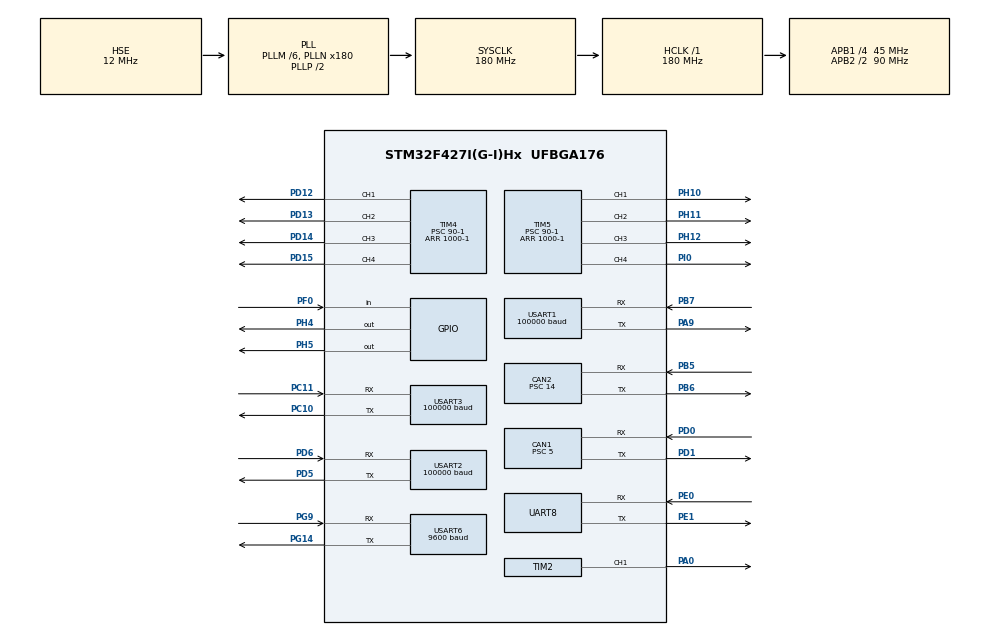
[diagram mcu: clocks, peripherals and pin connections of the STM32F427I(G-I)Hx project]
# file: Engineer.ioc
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CAN1.ABOM=ENABLE
CAN1.BS1=CAN_BS1_4TQ
CAN1.BS2=CAN_BS2_4TQ
CAN1.CalculateBaudRate=1000000
CAN1.CalculateTimeBit=1000
CAN1.CalculateTimeQuantum=111.11111111111111
CAN1.Prescaler=5
CAN2.ABOM=ENABLE
CAN2.BS1=CAN_BS1_4TQ
CAN2.BS2=CAN_BS2_4TQ
CAN2.CalculateBaudRate=357142
CAN2.CalculateTimeBit=2800
CAN2.CalculateTimeQuantum=311.1111111111111
CAN2.Prescaler=14
Dma.Request0=USART3_RX
Dma.Request1=USART6_RX
Dma.Request2=USART6_TX
Dma.Request3=USART1_RX
Dma.Request4=USART1_TX
Dma.Request5=UART8_RX
Dma.Request6=UART8_TX
Dma.UART8_RX.5.Direction=DMA_PERIPH_TO_MEMORY
Dma.UART8_RX.5.FIFOMode=DMA_FIFOMODE_DISABLE
Dma.UART8_RX.5.Instance=DMA1_Stream6
Dma.UART8_RX.5.MemDataAlignment=DMA_MDATAALIGN_BYTE
Dma.UART8_RX.5.MemInc=DMA_MINC_ENABLE
Dma.UART8_RX.5.Mode=DMA_NORMAL
Dma.UART8_RX.5.PeriphDataAlignment=DMA_PDATAALIGN_BYTE
Dma.UART8_RX.5.PeriphInc=DMA_PINC_DISABLE
Dma.UART8_RX.5.Priority=DMA_PRIORITY_LOW
Dma.UART8_TX.6.Direction=DMA_MEMORY_TO_PERIPH
Dma.UART8_TX.6.FIFOMode=DMA_FIFOMODE_DISABLE
Dma.UART8_TX.6.Instance=DMA1_Stream0
Dma.UART8_TX.6.MemDataAlignment=DMA_MDATAALIGN_BYTE
Dma.UART8_TX.6.MemInc=DMA_MINC_ENABLE
Dma.UART8_TX.6.Mode=DMA_NORMAL
Dma.UART8_TX.6.PeriphDataAlignment=DMA_PDATAALIGN_BYTE
Dma.UART8_TX.6.PeriphInc=DMA_PINC_DISABLE
Dma.UART8_TX.6.Priority=DMA_PRIORITY_LOW
Dma.USART1_RX.3.Direction=DMA_PERIPH_TO_MEMORY
Dma.USART1_RX.3.FIFOMode=DMA_FIFOMODE_DISABLE
Dma.USART1_RX.3.Instance=DMA2_Stream5
Dma.USART1_RX.3.MemDataAlignment=DMA_MDATAALIGN_BYTE
Dma.USART1_RX.3.MemInc=DMA_MINC_ENABLE
Dma.USART1_RX.3.Mode=DMA_NORMAL
Dma.USART1_RX.3.PeriphDataAlignment=DMA_PDATAALIGN_BYTE
Dma.USART1_RX.3.PeriphInc=DMA_PINC_DISABLE
Dma.USART1_RX.3.Priority=DMA_PRIORITY_LOW
Dma.USART1_TX.4.Direction=DMA_MEMORY_TO_PERIPH
Dma.USART1_TX.4.FIFOMode=DMA_FIFOMODE_DISABLE
Dma.USART1_TX.4.Instance=DMA2_Stream7
Dma.USART1_TX.4.MemDataAlignment=DMA_MDATAALIGN_BYTE
Dma.USART1_TX.4.MemInc=DMA_MINC_ENABLE
Dma.USART1_TX.4.Mode=DMA_NORMAL
Dma.USART1_TX.4.PeriphDataAlignment=DMA_PDATAALIGN_BYTE
Dma.USART1_TX.4.PeriphInc=DMA_PINC_DISABLE
Dma.USART1_TX.4.Priority=DMA_PRIORITY_LOW
Dma.USART3_RX.0.Direction=DMA_PERIPH_TO_MEMORY
Dma.USART3_RX.0.FIFOMode=DMA_FIFOMODE_DISABLE
Dma.USART3_RX.0.Instance=DMA1_Stream1
Dma.USART3_RX.0.MemDataAlignment=DMA_MDATAALIGN_BYTE
Dma.USART3_RX.0.MemInc=DMA_MINC_ENABLE
Dma.USART3_RX.0.Mode=DMA_NORMAL
Dma.USART3_RX.0.PeriphDataAlignment=DMA_PDATAALIGN_BYTE
Dma.USART3_RX.0.PeriphInc=DMA_PINC_DISABLE
Dma.USART3_RX.0.Priority=DMA_PRIORITY_LOW
Dma.USART6_RX.1.Direction=DMA_PERIPH_TO_MEMORY
Dma.USART6_RX.1.FIFOMode=DMA_FIFOMODE_DISABLE
Dma.USART6_RX.1.Instance=DMA2_Stream1
Dma.USART6_RX.1.MemDataAlignment=DMA_MDATAALIGN_BYTE
Dma.USART6_RX.1.MemInc=DMA_MINC_ENABLE
Dma.USART6_RX.1.Mode=DMA_NORMAL
Dma.USART6_RX.1.PeriphDataAlignment=DMA_PDATAALIGN_BYTE
Dma.USART6_RX.1.PeriphInc=DMA_PINC_DISABLE
Dma.USART6_RX.1.Priority=DMA_PRIORITY_LOW
Dma.USART6_TX.2.Direction=DMA_MEMORY_TO_PERIPH
Dma.USART6_TX.2.FIFOMode=DMA_FIFOMODE_DISABLE
Dma.USART6_TX.2.Instance=DMA2_Stream6
Dma.USART6_TX.2.MemDataAlignment=DMA_MDATAALIGN_BYTE
Dma.USART6_TX.2.MemInc=DMA_MINC_ENABLE
Dma.USART6_TX.2.Mode=DMA_NORMAL
Dma.USART6_TX.2.PeriphDataAlignment=DMA_PDATAALIGN_BYTE
Dma.USART6_TX.2.PeriphInc=DMA_PINC_DISABLE
Dma.USART6_TX.2.Priority=DMA_PRIORITY_LOW
Mcu.Family=STM32F4
Mcu.Name=STM32F427I(G-I)Hx
Mcu.Package=UFBGA176
NVIC.CAN1_RX0_IRQn=true\:0\:0\:false\:false\:true\:true\:true\:true
NVIC.CAN2_RX0_IRQn=true\:0\:0\:false\:false\:true\:true\:true\:true
NVIC.DMA1_Stream0_IRQn=true\:0\:0\:false\:false\:true\:false\:true\:true
NVIC.DMA1_Stream1_IRQn=true\:0\:0\:false\:false\:true\:false\:true\:true
NVIC.DMA1_Stream6_IRQn=true\:0\:0\:false\:false\:true\:false\:true\:true
NVIC.DMA2_Stream1_IRQn=true\:0\:0\:false\:false\:true\:false\:true\:true
NVIC.DMA2_Stream5_IRQn=true\:0\:0\:false\:false\:true\:false\:true\:true
NVIC.DMA2_Stream6_IRQn=true\:0\:0\:false\:false\:true\:false\:true\:true
NVIC.DMA2_Stream7_IRQn=true\:0\:0\:false\:false\:true\:false\:true\:true
NVIC.PriorityGroup=NVIC_PRIORITYGROUP_4
NVIC.TIM4_IRQn=true\:0\:0\:false\:false\:true\:true\:true\:true
NVIC.TIM5_IRQn=true\:0\:0\:false\:false\:true\:true\:true\:true
NVIC.TIM6_DAC_IRQn=true\:0\:0\:false\:false\:true\:true\:true\:true
NVIC.UART8_IRQn=true\:0\:0\:false\:false\:true\:true\:true\:true
NVIC.USART1_IRQn=true\:0\:0\:false\:false\:true\:true\:true\:true
NVIC.USART2_IRQn=true\:0\:0\:false\:false\:true\:true\:true\:true
NVIC.USART3_IRQn=true\:0\:0\:false\:false\:true\:true\:true\:true
NVIC.USART6_IRQn=true\:0\:0\:false\:false\:true\:true\:true\:true
PA0/WKUP.Signal=S_TIM2_CH1_ETR
PA1.Signal=S_TIM2_CH2
PA13.Mode=Serial_Wire
PA13.Signal=SYS_JTMS-SWDIO
PA14.Mode=Serial_Wire
PA14.Signal=SYS_JTCK-SWCLK
PA9.Mode=Asynchronous
PA9.Signal=USART1_TX
PB5.Mode=CAN_Activate
PB5.Signal=CAN2_RX
PB6.Mode=CAN_Activate
PB6.Signal=CAN2_TX
PB7.Mode=Asynchronous
PB7.Signal=USART1_RX
PC10.Mode=Asynchronous
PC10.Signal=USART3_TX
PC11.Mode=Asynchronous
PC11.Signal=USART3_RX
PD0.Mode=CAN_Activate
PD0.Signal=CAN1_RX
PD1.Mode=CAN_Activate
PD1.Signal=CAN1_TX
PD12.Signal=S_TIM4_CH1
PD13.Signal=S_TIM4_CH2
PD14.Signal=S_TIM4_CH3
PD15.Signal=S_TIM4_CH4
PD5.Mode=Asynchronous
PD5.Signal=USART2_TX
PD6.Mode=Asynchronous
PD6.Signal=USART2_RX
PE0.Mode=Asynchronous
PE0.Signal=UART8_RX
PE1.Mode=Asynchronous
PE1.Signal=UART8_TX
PF0.GPIO_Mode=GPIO_MODE_INPUT
PF0.Signal=GPIO_Input
PG14.Mode=Asynchronous
PG14.Signal=USART6_TX
PG9.Mode=Asynchronous
PG9.Signal=USART6_RX
PH0/OSC_IN.Mode=HSE-External-Oscillator
PH0/OSC_IN.Signal=RCC_OSC_IN
PH1/OSC_OUT.Mode=HSE-External-Oscillator
PH1/OSC_OUT.Signal=RCC_OSC_OUT
PH10.Signal=S_TIM5_CH1
PH11.Signal=S_TIM5_CH2
PH12.Signal=S_TIM5_CH3
PH4.GPIO_Speed=GPIO_SPEED_FREQ_VERY_HIGH
PH4.Signal=GPIO_Output
PH5.GPIO_Speed=GPIO_SPEED_FREQ_VERY_HIGH
PH5.PinState=GPIO_PIN_SET
PH5.Signal=GPIO_Output
PI0.Signal=S_TIM5_CH4
ProjectManager.HeapSize=0x200
ProjectManager.StackSize=0x400
ProjectManager.TargetToolchain=MDK-ARM V5
RCC.48MHZClocksFreq_Value=90000000
RCC.AHBFreq_Value=180000000
RCC.APB1CLKDivider=RCC_HCLK_DIV4
RCC.APB1Freq_Value=45000000
RCC.APB1TimFreq_Value=90000000
RCC.APB2CLKDivider=RCC_HCLK_DIV2
RCC.APB2Freq_Value=90000000
RCC.APB2TimFreq_Value=180000000
RCC.CortexFreq_Value=180000000
RCC.HCLKFreq_Value=180000000
RCC.HSE_VALUE=12000000
RCC.HSI_VALUE=16000000
RCC.LSE_VALUE=32768
RCC.PLLM=6
RCC.PLLN=180
RCC.PLLSourceVirtual=RCC_PLLSOURCE_HSE
RCC.SYSCLKFreq_VALUE=180000000
RCC.SYSCLKSource=RCC_SYSCLKSOURCE_PLLCLK
RCC.VCOOutputFreq_Value=360000000
SH.S_TIM2_CH1_ETR.0=TIM2_CH1,PWM Generation1 CH1
SH.S_TIM2_CH2.0=TIM2_CH2
SH.S_TIM4_CH1.0=TIM4_CH1,PWM Generation1 CH1
SH.S_TIM4_CH2.0=TIM4_CH2,PWM Generation2 CH2
SH.S_TIM4_CH3.0=TIM4_CH3,PWM Generation3 CH3
SH.S_TIM4_CH4.0=TIM4_CH4,PWM Generation4 CH4
SH.S_TIM5_CH1.0=TIM5_CH1,PWM Generation1 CH1
SH.S_TIM5_CH2.0=TIM5_CH2,PWM Generation2 CH2
SH.S_TIM5_CH3.0=TIM5_CH3,PWM Generation3 CH3
SH.S_TIM5_CH4.0=TIM5_CH4,PWM Generation4 CH4
TIM2.Channel-PWM\ Generation1\ CH1=TIM_CHANNEL_1
TIM2.Period=1000-1
TIM2.Prescaler=1680-1
TIM2.Pulse-PWM\ Generation1\ CH1=25
TIM4.Channel-PWM\ Generation1\ CH1=TIM_CHANNEL_1
TIM4.Channel-PWM\ Generation2\ CH2=TIM_CHANNEL_2
TIM4.Channel-PWM\ Generation3\ CH3=TIM_CHANNEL_3
TIM4.Channel-PWM\ Generation4\ CH4=TIM_CHANNEL_4
TIM4.Period=1000-1
TIM4.Prescaler=90-1
TIM5.Channel-PWM\ Generation1\ CH1=TIM_CHANNEL_1
TIM5.Channel-PWM\ Generation2\ CH2=TIM_CHANNEL_2
TIM5.Channel-PWM\ Generation3\ CH3=TIM_CHANNEL_3
TIM5.Channel-PWM\ Generation4\ CH4=TIM_CHANNEL_4
TIM5.Period=1000-1
TIM5.Prescaler=90-1
TIM6.AutoReloadPreload=TIM_AUTORELOAD_PRELOAD_DISABLE
TIM6.Period=10-1
TIM6.Prescaler=9000-1
UART8.VirtualMode=Asynchronous
USART1.BaudRate=100000
USART1.Parity=PARITY_EVEN
USART1.VirtualMode=VM_ASYNC
USART2.BaudRate=100000
USART2.VirtualMode=VM_ASYNC
USART3.BaudRate=100000
USART3.VirtualMode=VM_ASYNC
USART6.BaudRate=9600
USART6.Parity=PARITY_NONE
USART6.VirtualMode=VM_ASYNC
VP_TIM2_VS_ClockSourceINT.Mode=Internal
VP_TIM4_VS_ClockSourceINT.Mode=Internal
VP_TIM5_VS_ClockSourceINT.Mode=Internal
VP_TIM6_VS_ClockSourceINT.Mode=Enable_Timer
board=custom

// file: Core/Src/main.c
/* USER CODE BEGIN Header */
/**
  ******************************************************************************
  * @file           : main.c
  * @brief          : Main program body
  ******************************************************************************
  * @attention
  *
  * Copyright (c) 2021 STMicroelectronics.
  * All rights reserved.
  *
  * This software is licensed under terms that can be found in the LICENSE file
  * in the root directory of this software component.
  * If no LICENSE file comes with this software, it is provided AS-IS.
  *
  ******************************************************************************
  */
/* USER CODE END Header */
#include "main.h"
#include "can.h"
#include "dma.h"
#include "tim.h"
#include "usart.h"
#include "gpio.h"

/* USER CODE BEGIN Includes */
#include "BSP_Chassis.h"
#include "BSP_Handle.h"
#include "BSP_Flip.h"
#include "BSP_Mineral.h"
#include "BSP_Uart.h"
#include "BSP_Can.h"
#include "string.h"
#include "BSP_Steering.h"
#include "remote_control.h"
#include "BSP_Electric_push.h"
#include "referee.h"
#include "referee_UI.h"
#include "bsp_referee.h"

/* USER CODE END Includes */

/* USER CODE BEGIN PV */
extern uint8_t RX_Bufer[50];

/* USER CODE END PV */

void SystemClock_Config(void);
/* USER CODE BEGIN PFP */
static void BSP_Init(void);
static void Referee_Init(void);
/* USER CODE END PFP */

int main(void)
{

  /* MCU Configuration--------------------------------------------------------*/

  /* Reset of all peripherals, Initializes the Flash interface and the Systick. */
  HAL_Init();

  /* Configure the system clock */
  SystemClock_Config();

  /* Initialize all configured peripherals */
  MX_GPIO_Init();
  MX_CAN1_Init();
  MX_CAN2_Init();
  MX_DMA_Init();
  MX_USART3_UART_Init();
  MX_TIM6_Init();
  MX_USART1_UART_Init();
  MX_USART2_UART_Init();
  MX_USART6_UART_Init();
  MX_TIM2_Init();
  MX_TIM4_Init();
  MX_TIM5_Init();
  MX_UART8_Init();
  /* USER CODE BEGIN 2 */
	HAL_TIM_Base_Start_IT(&htim6);//开启定时器6
	BSP_Init();
	remote_control_init();
	UART_IdleIT_init();
	Chassis_Init();
	TIM_Push_PWM_Init();
//	Referee_Init();
  /* USER CODE END 2 */

  /* Infinite loop */
  while (1)
  {

  }
}

void SystemClock_Config(void)
{
  RCC_OscInitTypeDef RCC_OscInitStruct = {0};
  RCC_ClkInitTypeDef RCC_ClkInitStruct = {0};

  /** Configure the main internal regulator output voltage
  */
  __HAL_RCC_PWR_CLK_ENABLE();
  __HAL_PWR_VOLTAGESCALING_CONFIG(PWR_REGULATOR_VOLTAGE_SCALE1);

  /** Initializes the RCC Oscillators according to the specified parameters
  * in the RCC_OscInitTypeDef structure.
  */
  RCC_OscInitStruct.OscillatorType = RCC_OSCILLATORTYPE_HSE;
  RCC_OscInitStruct.HSEState = RCC_HSE_ON;
  RCC_OscInitStruct.PLL.PLLState = RCC_PLL_ON;
  RCC_OscInitStruct.PLL.PLLSource = RCC_PLLSOURCE_HSE;
  RCC_OscInitStruct.PLL.PLLM = 6;
  RCC_OscInitStruct.PLL.PLLN = 180;
  RCC_OscInitStruct.PLL.PLLP = RCC_PLLP_DIV2;
  RCC_OscInitStruct.PLL.PLLQ = 4;
  if (HAL_RCC_OscConfig(&RCC_OscInitStruct) != HAL_OK)
  {
    Error_Handler();
  }

  /** Activate the Over-Drive mode
  */
  if (HAL_PWREx_EnableOverDrive() != HAL_OK)
  {
    Error_Handler();
  }

  /** Initializes the CPU, AHB and APB buses clocks
  */
  RCC_ClkInitStruct.ClockType = RCC_CLOCKTYPE_HCLK|RCC_CLOCKTYPE_SYSCLK
                              |RCC_CLOCKTYPE_PCLK1|RCC_CLOCKTYPE_PCLK2;
  RCC_ClkInitStruct.SYSCLKSource = RCC_SYSCLKSOURCE_PLLCLK;
  RCC_ClkInitStruct.AHBCLKDivider = RCC_SYSCLK_DIV1;
  RCC_ClkInitStruct.APB1CLKDivider = RCC_HCLK_DIV4;
  RCC_ClkInitStruct.APB2CLKDivider = RCC_HCLK_DIV2;

  if (HAL_RCC_ClockConfig(&RCC_ClkInitStruct, FLASH_LATENCY_5) != HAL_OK)
  {
    Error_Handler();
  }
}

/* USER CODE BEGIN 4 */
void BSP_Init(void)
{
	Handle_Init();
	Flip_Init();
	Mineral_Init();
	Chassis_Init();
	Bsp_CanInit();
}

void Referee_Init(void)
{
	init_referee_struct_data();
	referee_usart_fifo_init();
	UI_Init();
}
/* USER CODE END 4 */

void Error_Handler(void)
{
  __disable_irq();
  while (1)
  {
  }
}
